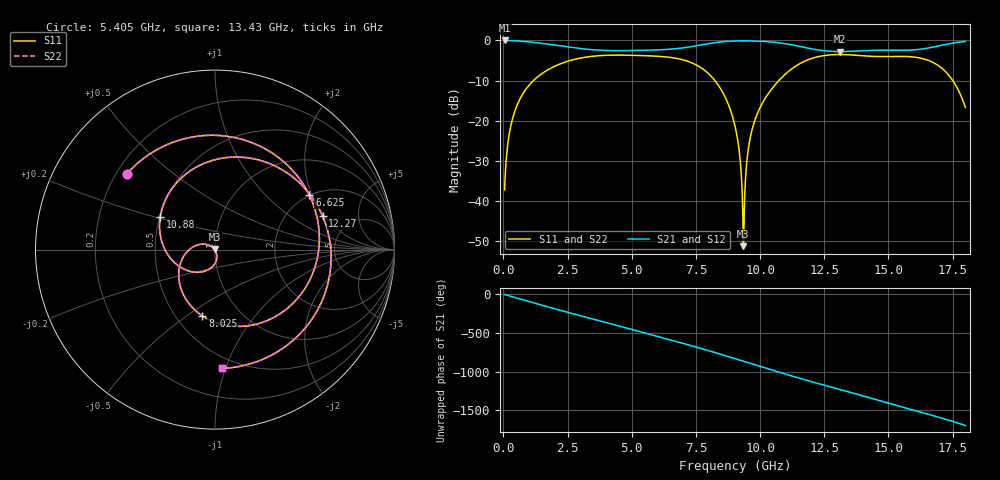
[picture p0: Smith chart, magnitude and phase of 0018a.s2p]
!freq-unit  param-type  data-format  keyword  impedance-ohms
# GHZ  S  RI  R  50
!Freq  ReS11  ImS11  ReS21  ImS21  ReS12  ImS12  ReS22  ImS22
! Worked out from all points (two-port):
!   899 points, 45 MHz to 18 GHz, reference 50 ohm
!   highest |S21| = 0.00 dB at 45 MHz (marker M1); lowest = -2.8 dB at 13.11 GHz (marker M2)
!   |S21| within 3 dB of the highest: start of sweep to end of sweep
!   lowest |S11| = -51.3 dB at 9.345 GHz (marker M3), VSWR 1.01, Z = 49.7 + j0.0748 ohm
!   |S11| at or under -10 dB: start of sweep to 1.17 GHz; 8.239 GHz to 10.73 GHz (2.493 GHz wide, 26.3 % of centre); 17.51 GHz to end of sweep
!   |S22| runs from -51.3 to -3.5 dB; largest |S21 - S12| = 0
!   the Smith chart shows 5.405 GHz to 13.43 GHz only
!   S11 on the Smith chart (normalised r, x): 5.405 GHz: 0.24, +0.35; 6.625 GHz: 2.00, +1.91; 8.025 GHz: 0.67, -0.58; 10.88 GHz: 0.50, +0.21; 12.27 GHz: 3.10, +1.91; 13.43 GHz: 0.41, -0.97
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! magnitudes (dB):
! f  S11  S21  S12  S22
! 45 MHz  -37.3  0.0  0.0  -37.3
! 305 MHz  -20.8  0.0  0.0  -20.8
! 785 MHz  -13.0  -0.2  -0.2  -13.0
! 3.045 GHz  -4.3  -2.1  -2.1  -4.3
! 5.405 GHz  -3.8  -2.5  -2.5  -3.8
! 6.045 GHz  -4.0  -2.4  -2.4  -4.0
! 6.625 GHz  -4.3  -2.1  -2.1  -4.3
! 8.025 GHz  -8.5  -0.8  -0.8  -8.5
! 9.025 GHz  -21.4  -0.1  -0.1  -21.4
! 9.185 GHz  -27.4  -0.1  -0.1  -27.4
! 9.345 GHz  -51.3  -0.1  -0.1  -51.3
! 9.405 GHz  -38.1  -0.1  -0.1  -38.1
! 9.545 GHz  -26.9  -0.1  -0.1  -26.9
! 9.765 GHz  -20.5  -0.2  -0.2  -20.5
! 10.88 GHz  -9.0  -0.7  -0.7  -9.0
! 12.03 GHz  -4.5  -2.1  -2.1  -4.5
! 12.27 GHz  -4.0  -2.4  -2.4  -4.0
! 13.11 GHz  -3.5  -2.8  -2.8  -3.5
! 13.43 GHz  -3.6  -2.7  -2.7  -3.6
! 15.03 GHz  -4.0  -2.4  -2.4  -4.0
! 16.91 GHz  -6.1  -1.4  -1.4  -6.1
! 18 GHz  -16.7  -0.3  -0.3  -16.7
